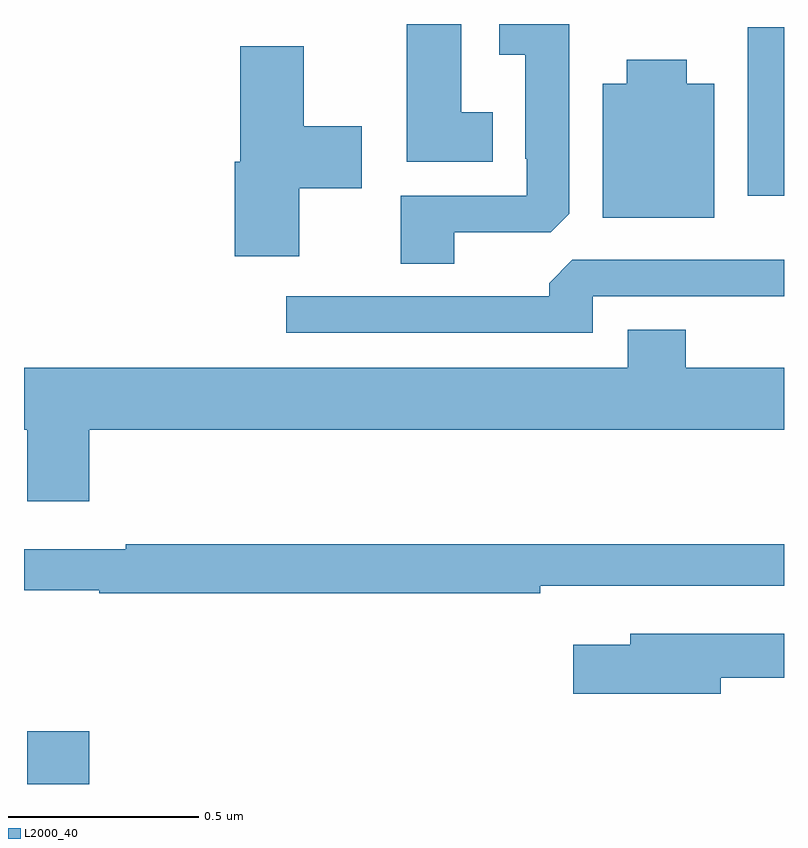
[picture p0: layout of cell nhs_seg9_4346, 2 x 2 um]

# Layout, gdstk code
import gdstk
lib = gdstk.Library(unit=1e-6, precision=1e-09)
def R(c, l, rs):  # rectangles x0, y0, x1, y1
    for r in rs: c.add(gdstk.rectangle(r[:2], r[2:], *l))
def P(c, l, *ps):  # polygons
    for p in ps: c.add(gdstk.Polygon(p, *l))
L2000_40 = (2000, 40)

nhs_seg9_4346 = lib.new_cell('nhs_seg9_4346')
R(nhs_seg9_4346, L2000_40, [(165.008,1183.5,165.172,1183.639), (166.904,1185.048,167,1185.492)])
P(nhs_seg9_4346, L2000_40, [(166.132,1184.952),(166.386,1184.952),(166.435,1185.001),(166.435,1185.5),(166.25,1185.5),(166.25,1185.419),(166.319,1185.419),(166.319,1185.145),(166.323,1185.145),(166.323,1185.048),(165.992,1185.048),(165.992,1184.869),(166.132,1184.869)],
  [(166.234,1185.268),(166.15,1185.268),(166.15,1185.5),(166.007,1185.5),(166.007,1185.137),(166.234,1185.137)],
  [(165.724,1185.068),(165.889,1185.068),(165.889,1185.231),(165.736,1185.231),(165.736,1185.442),(165.569,1185.442),(165.569,1185.137),(165.554,1185.137),(165.554,1184.889),(165.724,1184.889)],
  [(166.816,1185.343),(166.744,1185.343),(166.744,1185.406),(166.586,1185.406),(166.586,1185.343),(166.523,1185.343),(166.523,1184.99),(166.816,1184.99)],
  [(166.497,1184.784),(167,1184.784),(167,1184.88),(166.443,1184.88),(166.382,1184.818),(166.382,1184.784),(165.69,1184.784),(165.69,1184.688),(166.497,1184.688)],
  [(165.172,1184.432),(167,1184.432),(167,1184.596),(166.742,1184.596),(166.742,1184.695),(166.589,1184.695),(166.589,1184.596),(165,1184.596),(165,1184.432),(165.008,1184.432),(165.008,1184.244),(165.172,1184.244)],
  [(166.358,1184.022),(167,1184.022),(167,1184.131),(165.268,1184.131),(165.268,1184.118),(165,1184.118),(165,1184.01),(165.198,1184.01),(165.198,1184.002),(166.358,1184.002)],
  [(166.834,1183.78),(167,1183.78),(167,1183.896),(166.595,1183.896),(166.595,1183.867),(166.446,1183.867),(166.446,1183.738),(166.834,1183.738)])

lib.write_gds('nhs_seg9_4346.gds')
